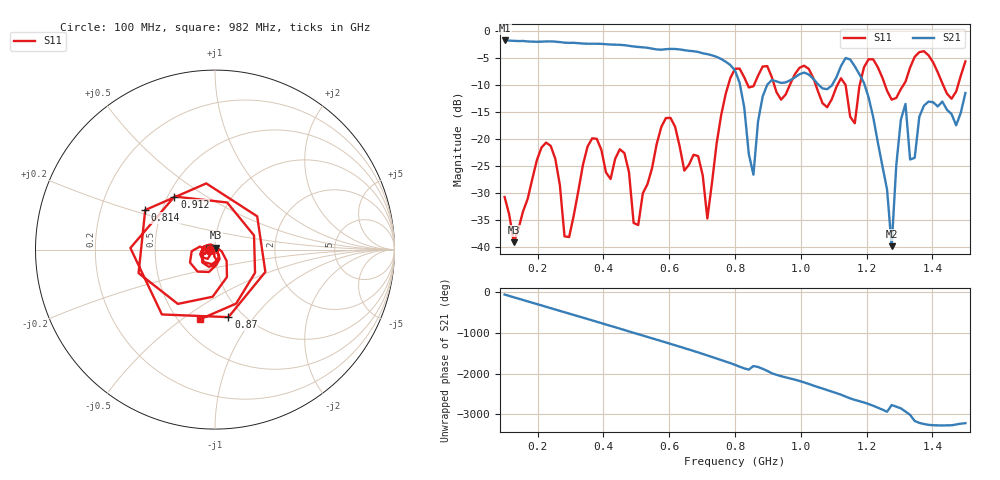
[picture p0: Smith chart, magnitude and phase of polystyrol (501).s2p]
! NanoVNA-App
! Date: 2025-09-25 15:33:47
! Start: 100MHz Stop: 1,5GHz Points: 101
! S-Parameter data: F S11 S21 S12 S22
# Hz S RI R 50
!  Frequency  S11_Real  S11_Imag  S21_Real  S21_Imag  S12_Real  S12_Imag  S22_Real  S22_Imag
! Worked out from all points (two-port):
!   101 points, 100 MHz to 1.5 GHz, reference 50 ohm
!   highest |S21| = -1.80 dB at 100 MHz (marker M1); lowest = -39.8 dB at 1.276 GHz (marker M2)
!   |S21| within 3 dB of the highest: start of sweep to 743.2 MHz
!   lowest |S11| = -39.1 dB at 128 MHz (marker M3), VSWR 1.02, Z = 50.3 + j1.06 ohm
!   |S11| at or under -10 dB: start of sweep to 779.8 MHz; 1.045 GHz to 1.112 GHz (66.24 MHz wide, 6.14 % of centre); 1.136 GHz to 1.179 GHz (43.06 MHz wide, 3.72 % of centre) (the widest 3 of 7)
!   S12 and S22 are empty: the file has one direction only
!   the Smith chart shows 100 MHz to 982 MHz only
!   S11 on the Smith chart (normalised r, x): 100 MHz: 0.94, -0.01; 814 MHz: 0.40, +0.22; 870 MHz: 0.85, -0.75; 912 MHz: 0.54, +0.37; 982 MHz: 0.64, -0.59
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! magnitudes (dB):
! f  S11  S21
! 100 MHz  -30.7  -1.8
! 128 MHz  -39.1  -1.9
! 212 MHz  -21.6  -2.0
! 282 MHz  -38.0  -2.2
! 338 MHz  -24.8  -2.4
! 464 MHz  -22.6  -2.7
! 506 MHz  -35.9  -3.0
! 576 MHz  -17.8  -3.5
! 716 MHz  -34.7  -4.3
! 800 MHz  -7.0  -7.3
! 814 MHz  -7.0  -9.6
! 856 MHz  -10.3  -26.6
! 870 MHz  -8.3  -16.8
! 912 MHz  -8.6  -9.1
! 982 MHz  -8.0  -8.6
! 1.038 GHz  -8.7  -8.9
! 1.164 GHz  -17.1  -6.6
! 1.192 GHz  -6.7  -9.7
! 1.276 GHz  -12.7  -39.8
! 1.318 GHz  -9.4  -13.5
! 1.332 GHz  -6.8  -23.8
! 1.5 GHz  -5.7  -11.5
